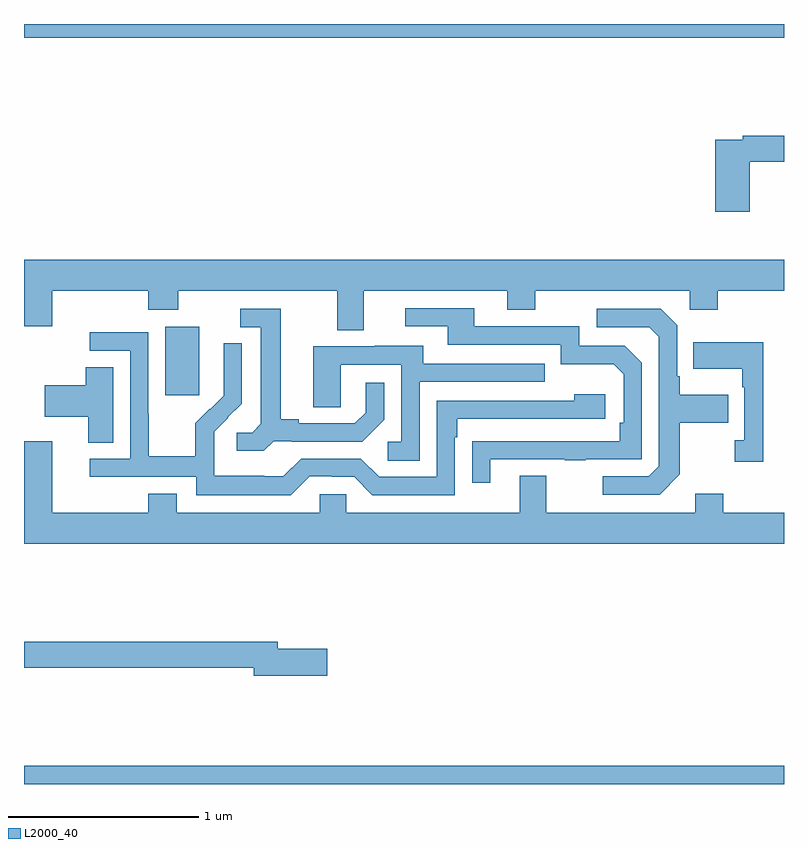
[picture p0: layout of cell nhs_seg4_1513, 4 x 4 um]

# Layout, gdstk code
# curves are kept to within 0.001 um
import gdstk
lib = gdstk.Library(unit=1e-6, precision=1e-09)
def R(c, l, rs):  # rectangles x0, y0, x1, y1
    for r in rs: c.add(gdstk.rectangle(r[:2], r[2:], *l))
def P(c, l, *ps):  # polygons
    for p in ps: c.add(gdstk.Polygon(p, *l))
L2000_40 = (2000, 40)

nhs_seg4_1513 = lib.new_cell('nhs_seg4_1513')
R(nhs_seg4_1513, L2000_40, [(189,784.9,193,784.996), (189.743,786.945,189.922,787.306), (189,788.828,193,788.9)])
P(nhs_seg4_1513, L2000_40, [(192.821,788.176),(193,788.176),(193,788.312),(192.784,788.312),(192.784,788.292),(192.638,788.292),(192.638,787.911),(192.821,787.911)],
  [(189,787.308),(189.148,787.308),(189.148,787.496),(189.653,787.496),(189.653,787.397),(189.813,787.397),(189.813,787.496),(190.649,787.496),(190.649,787.288),(190.789,787.288),(190.789,787.496),(191.543,787.496),(191.543,787.397),(191.691,787.397),(191.691,787.496),(192.504,787.496),(192.504,787.397),(192.651,787.397),(192.651,787.496),(193,787.496),(193,787.66),(189,787.66)],
  [(191.455,786.609),(191.845,786.609),(191.845,786.604),(191.957,786.604),(191.957,786.609),(192.252,786.609),(192.252,787.116),(192.162,787.206),(191.922,787.206),(191.922,787.308),(191.371,787.308),(191.371,787.404),(191.007,787.404),(191.007,787.308),(191.231,787.308),(191.231,787.212),(191.826,787.212),(191.826,787.109),(192.103,787.109),(192.156,787.056),(192.156,786.802),(192.136,786.802),(192.136,786.705),(191.359,786.704),(191.359,786.486),(191.455,786.486)],
  [(192.451,786.529),(192.451,786.802),(192.707,786.802),(192.707,786.949),(192.451,786.949),(192.451,787.045),(192.438,787.045),(192.438,787.314),(192.351,787.401),(192.015,787.401),(192.015,787.305),(192.291,787.305),(192.342,787.254),(192.342,786.573),(192.288,786.519),(192.045,786.519),(192.045,786.423),(192.345,786.423)],
  [(190.314,786.705),(190.408,786.705),(190.408,786.702),(190.78,786.702),(190.896,786.818),(190.896,787.012),(190.799,787.012),(190.799,786.855),(190.742,786.798),(190.447,786.798),(190.447,786.821),(190.351,786.821),(190.351,787.401),(190.137,787.401),(190.137,787.305),(190.247,787.305),(190.247,786.797),(190.2,786.75),(190.119,786.75),(190.119,786.653),(190.262,786.653)],
  [(190.503,786.519),(190.619,786.519),(190.619,786.516),(190.737,786.516),(190.833,786.42),(191.268,786.42),(191.268,786.725),(191.281,786.725),(191.281,786.822),(192.058,786.822),(192.058,786.952),(191.897,786.952),(191.897,786.918),(191.172,786.918),(191.172,786.516),(190.869,786.516),(190.773,786.612),(190.458,786.612),(190.365,786.519),(190.265,786.519),(190.265,786.523),(190.002,786.523),(190.002,786.657),(190,786.657),(190,786.754),(190.146,786.902),(190.146,787.22),(190.05,787.22),(190.05,787.066),(190.052,787.066),(190.052,786.944),(189.981,786.873),(189.978,786.876),(189.901,786.799),(189.901,786.625),(189.657,786.625),(189.657,786.848),(189.654,786.848),(189.654,787.278),(189.345,787.278),(189.345,787.179),(189.558,787.179),(189.558,786.612),(189.345,786.612),(189.345,786.516),(189.906,786.516),(189.906,786.419),(190.403,786.419)],
  [(192.89,787.225),(192.523,787.225),(192.523,787.085),(192.78,787.085),(192.78,786.989),(192.792,786.989),(192.792,786.71),(192.741,786.71),(192.741,786.597),(192.89,786.597)],
  [(191.082,787.017),(191.741,787.017),(191.741,787.113),(191.101,787.113),(191.101,787.207),(190.847,787.207),(190.847,787.203),(190.523,787.203),(190.523,786.883),(190.668,786.883),(190.668,787.107),(190.986,787.107),(190.986,786.702),(190.914,786.702),(190.914,786.601),(191.082,786.601)],
  [(189.469,787.094),(189.326,787.094),(189.326,786.999),(189.108,786.999),(189.108,786.833),(189.338,786.833),(189.338,786.697),(189.469,786.697)],
  [(193,786.328),(192.681,786.328),(192.681,786.427),(192.533,786.427),(192.533,786.328),(191.749,786.328),(191.749,786.523),(191.609,786.523),(191.609,786.328),(190.695,786.328),(190.695,786.426),(190.557,786.426),(190.557,786.328),(189.805,786.328),(189.805,786.427),(189.653,786.427),(189.653,786.328),(189.148,786.328),(189.148,786.703),(189,786.703),(189,786.164),(193,786.164)],
  [(190.597,785.612),(190.336,785.612),(190.336,785.648),(189,785.648),(189,785.512),(190.208,785.512),(190.208,785.47),(190.597,785.47)])

lib.write_gds('nhs_seg4_1513.gds')
